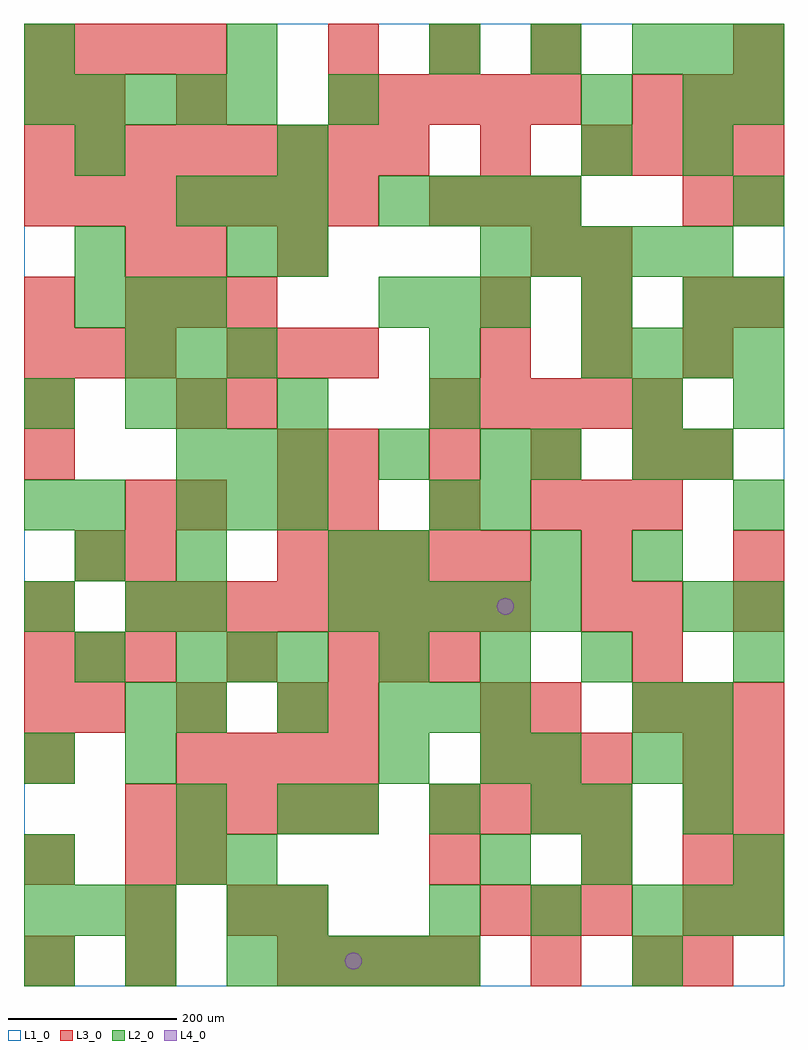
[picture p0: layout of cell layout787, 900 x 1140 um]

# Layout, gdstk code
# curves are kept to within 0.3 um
import gdstk
lib = gdstk.Library(unit=1e-6, precision=1e-09)
def R(c, l, rs):  # rectangles x0, y0, x1, y1
    for r in rs: c.add(gdstk.rectangle(r[:2], r[2:], *l))
def A(c, l, x, y, w, h, nx, ny, dx, dy):  # array of equal rectangles
    R(c, l, [(x+i*dx, y+j*dy, x+i*dx+w, y+j*dy+h) for i in range(nx) for j in range(ny)])
def P(c, l, *ps):  # polygons
    for p in ps: c.add(gdstk.Polygon(p, *l))
L1_0 = (1, 0)
L2_0 = (2, 0)
L3_0 = (3, 0)
L4_0 = (4, 0)

layout787 = lib.new_cell('layout787')
R(layout787, L1_0, [(0,0,900,1140)])
A(layout787, L2_0, 0, 0, 60, 60, 3, 1, 120, 0)
A(layout787, L2_0, 300, 0, 60, 60, 4, 1, 60, 0)
A(layout787, L2_0, 0, 60, 60, 60, 3, 1, 60, 0)
A(layout787, L2_0, 480, 60, 60, 60, 3, 1, 120, 0)
A(layout787, L2_0, 360, 180, 60, 60, 3, 1, 120, 0)
A(layout787, L2_0, 780, 180, 60, 60, 1, 3, 0, 60)
A(layout787, L2_0, 180, 300, 60, 60, 3, 1, 120, 0)
A(layout787, L2_0, 180, 360, 60, 60, 3, 2, 60, 180)
A(layout787, L2_0, 420, 360, 60, 60, 3, 1, 120, 0)
A(layout787, L2_0, 0, 420, 60, 60, 1, 3, 0, 120)
A(layout787, L2_0, 360, 420, 60, 60, 5, 1, 60, 0)
A(layout787, L2_0, 780, 420, 60, 60, 1, 4, 0, 180)
A(layout787, L2_0, 840, 420, 60, 60, 1, 6, 0, 120)
A(layout787, L2_0, 180, 600, 60, 60, 3, 2, 60, 300)
A(layout787, L2_0, 120, 720, 60, 60, 3, 1, 60, 0)
A(layout787, L2_0, 660, 720, 60, 60, 4, 1, 60, 0)
A(layout787, L2_0, 60, 780, 60, 60, 3, 1, 60, 0)
A(layout787, L2_0, 420, 780, 60, 60, 3, 1, 60, 0)
A(layout787, L2_0, 540, 840, 60, 60, 5, 1, 60, 0)
A(layout787, L2_0, 420, 900, 60, 60, 4, 1, 60, 0)
A(layout787, L2_0, 0, 1020, 60, 60, 5, 1, 60, 0)
A(layout787, L2_0, 0, 1080, 60, 60, 3, 1, 240, 0)
A(layout787, L2_0, 720, 1080, 60, 60, 3, 1, 60, 0)
R(layout787, L2_0, [(720,0,780,60), (240,60,300,120), (300,60,360,120), (780,60,840,120), (840,60,900,120), (0,120,60,180), (180,120,240,180), (240,120,300,180), (540,120,600,180), (660,120,720,180), (840,120,900,180), (180,180,240,240), (300,180,360,240), (660,180,720,240), (0,240,60,300), (120,240,180,300), (420,240,480,300), (540,240,600,300), (600,240,660,300), (720,240,780,300), (120,300,180,360), (480,300,540,360), (540,300,600,360), (720,300,780,360), (60,360,120,420), (840,360,900,420), (120,420,180,480), (180,420,240,480), (60,480,120,540), (180,480,240,540), (360,480,420,540), (420,480,480,540), (600,480,660,540), (720,480,780,540), (60,540,120,600), (480,540,540,600), (540,540,600,600), (420,600,480,660), (540,600,600,660), (600,600,660,660), (720,600,780,660), (120,660,180,720), (180,660,240,720), (300,660,360,720), (480,660,540,720), (720,660,780,720), (480,720,540,780), (660,780,720,840), (60,840,120,900), (240,840,300,900), (300,840,360,900), (60,960,120,1020), (300,960,360,1020), (660,960,720,1020), (360,1020,420,1080), (660,1020,720,1080), (780,1020,840,1080), (600,1080,660,1140)])
A(layout787, L3_0, 0, 0, 60, 60, 1, 3, 0, 120)
A(layout787, L3_0, 120, 0, 60, 60, 1, 3, 0, 60)
A(layout787, L3_0, 300, 0, 60, 60, 4, 1, 60, 0)
A(layout787, L3_0, 780, 0, 60, 60, 1, 5, 0, 60)
A(layout787, L3_0, 240, 60, 60, 60, 1, 3, 0, 300)
A(layout787, L3_0, 540, 60, 60, 60, 3, 2, 60, 180)
A(layout787, L3_0, 840, 60, 60, 60, 1, 4, 0, 60)
A(layout787, L3_0, 120, 180, 60, 60, 5, 1, 60, 0)
A(layout787, L3_0, 480, 180, 60, 60, 4, 1, 60, 0)
A(layout787, L3_0, 180, 240, 60, 60, 4, 1, 60, 0)
A(layout787, L3_0, 60, 300, 60, 60, 3, 1, 120, 0)
A(layout787, L3_0, 720, 300, 60, 60, 3, 2, 60, 720)
A(layout787, L3_0, 0, 360, 60, 60, 3, 2, 60, 360)
A(layout787, L3_0, 360, 360, 60, 60, 3, 1, 60, 0)
A(layout787, L3_0, 120, 420, 60, 60, 8, 1, 60, 0)
A(layout787, L3_0, 660, 420, 60, 60, 1, 3, 0, 60)
A(layout787, L3_0, 300, 480, 60, 60, 5, 1, 60, 0)
A(layout787, L3_0, 360, 540, 60, 60, 3, 2, 120, 540)
A(layout787, L3_0, 360, 600, 60, 60, 4, 1, 120, 0)
A(layout787, L3_0, 180, 660, 60, 60, 1, 3, 0, 180)
A(layout787, L3_0, 480, 660, 60, 60, 5, 1, 60, 0)
A(layout787, L3_0, 240, 720, 60, 60, 3, 1, 60, 0)
A(layout787, L3_0, 540, 720, 60, 60, 3, 2, 120, 60)
A(layout787, L3_0, 120, 780, 60, 60, 3, 1, 60, 0)
A(layout787, L3_0, 0, 900, 60, 60, 7, 1, 60, 0)
A(layout787, L3_0, 480, 900, 60, 60, 3, 1, 60, 0)
A(layout787, L3_0, 0, 960, 60, 60, 8, 1, 60, 0)
A(layout787, L3_0, 660, 960, 60, 60, 4, 1, 60, 0)
A(layout787, L3_0, 360, 1020, 60, 60, 5, 1, 60, 0)
A(layout787, L3_0, 0, 1080, 60, 60, 4, 1, 60, 0)
R(layout787, L3_0, [(600,0,660,60), (720,0,780,60), (300,60,360,120), (180,120,240,180), (480,120,540,180), (660,120,720,180), (0,300,60,360), (360,300,420,360), (540,300,600,360), (600,300,660,360), (720,360,780,420), (0,420,60,480), (720,420,780,480), (840,420,900,480), (60,480,120,540), (120,480,180,540), (840,480,900,540), (120,540,180,600), (180,540,240,600), (300,540,360,600), (720,540,780,600), (0,600,60,660), (300,600,360,660), (780,600,840,660), (0,660,60,720), (0,780,60,840), (840,780,900,840), (120,840,180,900), (300,840,360,900), (600,840,660,900), (660,840,720,900), (780,900,840,960), (840,900,900,960), (540,960,600,1020), (0,1020,60,1080), (60,1020,120,1080), (840,1080,900,1140)])
P(layout787, L4_0, [(400,30),(399.239,33.827),(397.071,37.071),(393.827,39.239),(390,40),(386.173,39.239),(382.929,37.071),(380.761,33.827),(380,30),(380.761,26.173),(382.929,22.929),(386.173,20.761),(390,20),(393.827,20.761),(397.071,22.929),(399.239,26.173)],
  [(580,450),(579.239,453.827),(577.071,457.071),(573.827,459.239),(570,460),(566.173,459.239),(562.929,457.071),(560.761,453.827),(560,450),(560.761,446.173),(562.929,442.929),(566.173,440.761),(570,440),(573.827,440.761),(577.071,442.929),(579.239,446.173)])

lib.write_gds('layout787.gds')
